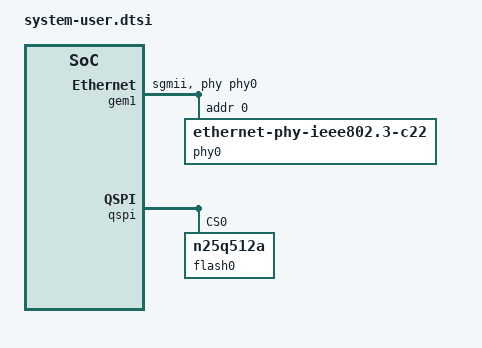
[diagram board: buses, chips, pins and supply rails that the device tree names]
/include/ "system-conf.dtsi"
/include/ "pl-custom.dtsi"


&gem1 {
    phy-mode = "sgmii";
    phy-handle = <&phy0>;
    status = "okay";        
    is-internal-pcspma;
    xlnx,ptp-enet-clock = <0x0>;
    phy0: phy@0 {
        compatible = "ethernet-phy-ieee802.3-c22";
        device_type = "ethernet-phy";
        ti,rx-internal-delay = <0x8>;
        ti,tx-internal-delay = <0xa>;
        ti,fifo-depth = <0x1>;
        reg = <0>;
    };
};
&qspi {
	#address-cells = <1>;
	#size-cells = <0>;
	flash0: flash@0 {
        compatible = "n25q512a","micron,m25p80","jedec,spi-nor";
		reg = <0x0>;
		#address-cells = <1>;
		#size-cells = <1>;

	};
};

&pcie_us_rqrc_1{
    compatible = "generic-uio";
};

&protocol_processor_v_2{
    compatible = "generic-uio";
};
